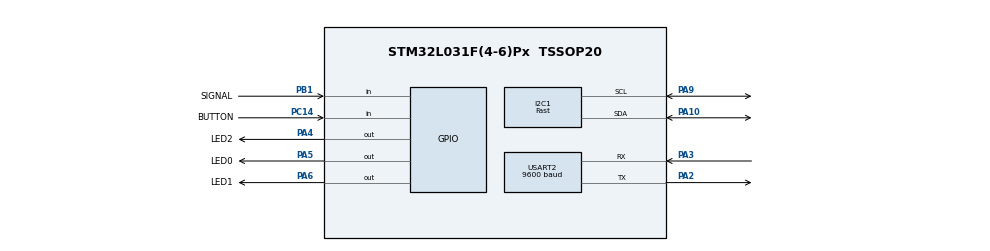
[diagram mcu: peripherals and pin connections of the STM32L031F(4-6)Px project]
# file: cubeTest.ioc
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I2C1.Analog_Filter=I2C_ANALOGFILTER_DISABLE
I2C1.I2C_Coeff_DF=7
I2C1.I2C_Fall_Time=100
I2C1.I2C_Rise_Time=100
I2C1.I2C_Speed_Mode=I2C_Fast
I2C1.Speed=50
I2C1.Timing=0x0000003F
Mcu.Family=STM32L0
Mcu.Name=STM32L031F(4-6)Px
Mcu.Package=TSSOP20
PA10.Mode=I2C
PA10.Signal=I2C1_SDA
PA13.Mode=Serial_Wire
PA13.Signal=SYS_SWDIO
PA14.Mode=Serial_Wire
PA14.Signal=SYS_SWCLK
PA2.Mode=Asynchronous
PA2.Signal=USART2_TX
PA3.Mode=Asynchronous
PA3.Signal=USART2_RX
PA4.GPIO_Label=LED2
PA4.Signal=GPIO_Output
PA5.GPIO_Label=LED0
PA5.Signal=GPIO_Output
PA6.GPIO_Label=LED1
PA6.Signal=GPIO_Output
PA9.Mode=I2C
PA9.Signal=I2C1_SCL
PB1.GPIO_Label=SIGNAL
PB1.Signal=GPIO_Input
PC14-OSC32_IN.GPIO_Label=BUTTON
PC14-OSC32_IN.GPIO_PuPd=GPIO_PULLUP
PC14-OSC32_IN.Signal=GPIO_Input
ProjectManager.HeapSize=0x200
ProjectManager.StackSize=0x400
ProjectManager.TargetToolchain=STM32CubeIDE
RCC.AHBFreq_Value=4194000
RCC.APB1Freq_Value=4194000
RCC.APB1TimFreq_Value=4194000
RCC.APB2Freq_Value=4194000
RCC.APB2TimFreq_Value=4194000
RCC.DATA_CACHE_ENABLE=1
RCC.HCLKFreq_Value=4194000
RCC.HSE_VALUE=8000000
RCC.HSI16_VALUE=16000000
RCC.HSI_VALUE=16000000
RCC.INSTRUCTION_CACHE_ENABLE=1
RCC.LSE_VALUE=32768
RCC.MSIClockRange=RCC_MSIRANGE_6
RCC.MSI_VALUE=4194000
RCC.PREFETCH_ENABLE=1
RCC.PWR_Regulator_Voltage_Scale=PWR_REGULATOR_VOLTAGE_SCALE1
RCC.SYSCLKFreq_VALUE=4194000
RCC.Usart2ClockSelection=RCC_USART2CLKSOURCE_SYSCLK
RCC.VCOOutputFreq_Value=48000000
USART2.BaudRate=9600
USART2.DMADisableonRxErrorParam=ADVFEATURE_DMA_DISABLEONRXERROR
USART2.OverrunDisableParam=ADVFEATURE_OVERRUN_DISABLE
USART2.VirtualMode-Asynchronous=VM_ASYNC
USART2.VirtualMode-Half_duplex(single_wire_mode)=VM_ASYNC
board=custom

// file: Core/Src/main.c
/* USER CODE BEGIN Header */
/**
  ******************************************************************************
  * @file           : main.c
  * @brief          : Main program body
  ******************************************************************************
  * @attention
  *
  * <h2><center>&copy; Copyright (c) 2020 STMicroelectronics.
  * All rights reserved.</center></h2>
  *
  * This software component is licensed by ST under BSD 3-Clause license,
  * the "License"; You may not use this file except in compliance with the
  * License. You may obtain a copy of the License at:
  *                        opensource.org/licenses/BSD-3-Clause
  *
  ******************************************************************************
  */
/* USER CODE END Header */
#include "main.h"

/* USER CODE BEGIN Includes */
#include "BQ769x0.h"
#include "comm.h"
/* USER CODE END Includes */

/* USER CODE BEGIN PD */
#define BUTTON_DEBOUNCE_LIMIT ((uint32_t)10)
/* USER CODE END PD */

/* USER CODE BEGIN PV */
static afe_config afeConfig;
static condensed_afe_data afeData;
/* USER CODE END PV */

void SystemClock_Config(void);
static void MX_GPIO_Init(void);
static void MX_I2C1_Init(void);
static void MX_USART2_UART_Init(void);

int main(void)
{
  /* USER CODE BEGIN 1 */
	uint32_t button_debounce;

  /* USER CODE END 1 */

  /* MCU Configuration--------------------------------------------------------*/

  /* Reset of all peripherals, Initializes the Flash interface and the Systick. */

  LL_APB2_GRP1_EnableClock(LL_APB2_GRP1_PERIPH_SYSCFG);
  LL_APB1_GRP1_EnableClock(LL_APB1_GRP1_PERIPH_PWR);

  /* System interrupt init*/

  /* Configure the system clock */
  SystemClock_Config();

  /* Initialize all configured peripherals */
  MX_GPIO_Init();
  MX_I2C1_Init();
  MX_USART2_UART_Init();
  /* USER CODE BEGIN 2 */

  afeConfig.enabled_cells=0b00010111;
  // current limit settings
  afeConfig.range = threshold_upper;
  afeConfig.sc_delay = scd_400_us;
  afeConfig.sc_voltage=scd_111_56_mv;
  afeConfig.oc_delay=ocd_8_ms;
  afeConfig.oc_voltage=ocd_44_22_mv;
  afeConfig.shuntValue=5; // 5 mOhms
  afeConfig.chargeCurrent_mA = 4000;

  // voltage limit settings
  afeConfig.uv_delay=uvd_4_s;
  afeConfig.uvLimit=0xFF;
  afeConfig.ov_delay=ovd_2_s;
  afeConfig.ovLimit=0xAA;

  // generic pack configuration
  afeConfig.pack_max_voltage = 16400;
  afeConfig.cell_bal_voltage = 4100;

  if(0==bqInit(I2C1, &afeData, &afeConfig)) {
	  // ERROR
	  LL_GPIO_SetOutputPin(LED0_GPIO_Port, LED0_Pin);
	  LL_GPIO_SetOutputPin(LED1_GPIO_Port, LED1_Pin);
	  LL_GPIO_SetOutputPin(LED2_GPIO_Port, LED2_Pin);
	  asm volatile ("bkpt 0");
  } else {
	  bqEnableAll();
  }

  commInit(USART2, &afeData, &afeConfig);
  /* USER CODE END 2 */

  /* Infinite loop */
  while (1) {

    /* USER CODE BEGIN 3 */
	  // handle AFE
	  if(LL_GPIO_IsInputPinSet(SIGNAL_GPIO_Port,SIGNAL_Pin)) {
		  LL_GPIO_SetOutputPin(LED0_GPIO_Port, LED0_Pin);

		  // AFE event signaled,
		  bqAct();
		  LL_GPIO_ResetOutputPin(LED1_GPIO_Port, LED1_Pin);
		  LL_GPIO_ResetOutputPin(LED2_GPIO_Port, LED2_Pin);
		  if(0b00001100&afeData.status_reg) { // voltage problem
			  LL_GPIO_SetOutputPin(LED1_GPIO_Port, LED1_Pin);
		  } else if(0b00000011&afeData.status_reg) { // discharge current problem
			  LL_GPIO_SetOutputPin(LED2_GPIO_Port, LED2_Pin);
		  } else if (0b11000000&afeData.status_reg) { // charge current problem
			  LL_GPIO_SetOutputPin(LED1_GPIO_Port, LED1_Pin);
			  LL_GPIO_SetOutputPin(LED2_GPIO_Port, LED2_Pin);
		  }

		  // handle the balancing system
		  bqBalance();

		  // handle the communication system
		  commAct();

		  // check the button and decide what needs to happen
		  if(LL_GPIO_IsInputPinSet(BUTTON_GPIO_Port, BUTTON_Pin)) {
			  button_debounce = 0;
		  } else {
			  if(button_debounce < BUTTON_DEBOUNCE_LIMIT) {
				  button_debounce ++;
			  } else if ( BUTTON_DEBOUNCE_LIMIT == button_debounce ) {
				  button_debounce ++;
				  // act on the button
				  if(0b11001111&afeData.status_reg) {
					  // reset error status if there's a problem
					  bqDisableAll();
					  bqResetStatus();
					  bqEnableAll();
				  } else {
					  // start the balance algo
					  afeData.balStatus=1;
				  }
			  } else {
				  button_debounce = button_debounce ;
			  }
		  }

		  LL_GPIO_ResetOutputPin(LED0_GPIO_Port, LED0_Pin);
	  }
  }
  /* USER CODE END 3 */
}

void SystemClock_Config(void)
{
  LL_FLASH_SetLatency(LL_FLASH_LATENCY_0);
  while(LL_FLASH_GetLatency()!= LL_FLASH_LATENCY_0)
  {
  }
  LL_PWR_SetRegulVoltageScaling(LL_PWR_REGU_VOLTAGE_SCALE1);
  LL_RCC_MSI_Enable();

   /* Wait till MSI is ready */
  while(LL_RCC_MSI_IsReady() != 1)
  {

  }
  LL_RCC_MSI_SetRange(LL_RCC_MSIRANGE_6);
  LL_RCC_MSI_SetCalibTrimming(0);
  LL_RCC_SetAHBPrescaler(LL_RCC_SYSCLK_DIV_1);
  LL_RCC_SetAPB1Prescaler(LL_RCC_APB1_DIV_1);
  LL_RCC_SetAPB2Prescaler(LL_RCC_APB2_DIV_1);
  LL_RCC_SetSysClkSource(LL_RCC_SYS_CLKSOURCE_MSI);

   /* Wait till System clock is ready */
  while(LL_RCC_GetSysClkSource() != LL_RCC_SYS_CLKSOURCE_STATUS_MSI)
  {

  }

  LL_Init1msTick(4194000);

  LL_SetSystemCoreClock(4194000);
  LL_RCC_SetUSARTClockSource(LL_RCC_USART2_CLKSOURCE_SYSCLK);
  LL_RCC_SetI2CClockSource(LL_RCC_I2C1_CLKSOURCE_PCLK1);
}

static void MX_I2C1_Init(void)
{

  LL_I2C_InitTypeDef I2C_InitStruct = {0};

  LL_GPIO_InitTypeDef GPIO_InitStruct = {0};

  LL_IOP_GRP1_EnableClock(LL_IOP_GRP1_PERIPH_GPIOA);
  /**I2C1 GPIO Configuration
  PA9   ------> I2C1_SCL
  PA10   ------> I2C1_SDA
  */
  GPIO_InitStruct.Pin = LL_GPIO_PIN_9;
  GPIO_InitStruct.Mode = LL_GPIO_MODE_ALTERNATE;
  GPIO_InitStruct.Speed = LL_GPIO_SPEED_FREQ_VERY_HIGH;
  GPIO_InitStruct.OutputType = LL_GPIO_OUTPUT_OPENDRAIN;
  GPIO_InitStruct.Pull = LL_GPIO_PULL_UP;
  GPIO_InitStruct.Alternate = LL_GPIO_AF_1;
  LL_GPIO_Init(GPIOA, &GPIO_InitStruct);

  GPIO_InitStruct.Pin = LL_GPIO_PIN_10;
  GPIO_InitStruct.Mode = LL_GPIO_MODE_ALTERNATE;
  GPIO_InitStruct.Speed = LL_GPIO_SPEED_FREQ_VERY_HIGH;
  GPIO_InitStruct.OutputType = LL_GPIO_OUTPUT_OPENDRAIN;
  GPIO_InitStruct.Pull = LL_GPIO_PULL_UP;
  GPIO_InitStruct.Alternate = LL_GPIO_AF_1;
  LL_GPIO_Init(GPIOA, &GPIO_InitStruct);

  /* Peripheral clock enable */
  LL_APB1_GRP1_EnableClock(LL_APB1_GRP1_PERIPH_I2C1);

  /** I2C Initialization
  */
  LL_I2C_EnableAutoEndMode(I2C1);
  LL_I2C_DisableOwnAddress2(I2C1);
  LL_I2C_DisableGeneralCall(I2C1);
  LL_I2C_EnableClockStretching(I2C1);
  I2C_InitStruct.PeripheralMode = LL_I2C_MODE_I2C;
  I2C_InitStruct.Timing = 0x0000003F;
  I2C_InitStruct.AnalogFilter = LL_I2C_ANALOGFILTER_DISABLE;
  I2C_InitStruct.DigitalFilter = 7;
  I2C_InitStruct.OwnAddress1 = 0;
  I2C_InitStruct.TypeAcknowledge = LL_I2C_ACK;
  I2C_InitStruct.OwnAddrSize = LL_I2C_OWNADDRESS1_7BIT;
  LL_I2C_Init(I2C1, &I2C_InitStruct);
  LL_I2C_SetOwnAddress2(I2C1, 0, LL_I2C_OWNADDRESS2_NOMASK);

}

static void MX_USART2_UART_Init(void)
{

  LL_USART_InitTypeDef USART_InitStruct = {0};

  LL_GPIO_InitTypeDef GPIO_InitStruct = {0};

  /* Peripheral clock enable */
  LL_APB1_GRP1_EnableClock(LL_APB1_GRP1_PERIPH_USART2);

  LL_IOP_GRP1_EnableClock(LL_IOP_GRP1_PERIPH_GPIOA);
  /**USART2 GPIO Configuration
  PA2   ------> USART2_TX
  PA3   ------> USART2_RX
  */
  GPIO_InitStruct.Pin = LL_GPIO_PIN_2;
  GPIO_InitStruct.Mode = LL_GPIO_MODE_ALTERNATE;
  GPIO_InitStruct.Speed = LL_GPIO_SPEED_FREQ_VERY_HIGH;
  GPIO_InitStruct.OutputType = LL_GPIO_OUTPUT_PUSHPULL;
  GPIO_InitStruct.Pull = LL_GPIO_PULL_NO;
  GPIO_InitStruct.Alternate = LL_GPIO_AF_4;
  LL_GPIO_Init(GPIOA, &GPIO_InitStruct);

  GPIO_InitStruct.Pin = LL_GPIO_PIN_3;
  GPIO_InitStruct.Mode = LL_GPIO_MODE_ALTERNATE;
  GPIO_InitStruct.Speed = LL_GPIO_SPEED_FREQ_VERY_HIGH;
  GPIO_InitStruct.OutputType = LL_GPIO_OUTPUT_PUSHPULL;
  GPIO_InitStruct.Pull = LL_GPIO_PULL_NO;
  GPIO_InitStruct.Alternate = LL_GPIO_AF_4;
  LL_GPIO_Init(GPIOA, &GPIO_InitStruct);

  USART_InitStruct.BaudRate = 9600;
  USART_InitStruct.DataWidth = LL_USART_DATAWIDTH_8B;
  USART_InitStruct.StopBits = LL_USART_STOPBITS_1;
  USART_InitStruct.Parity = LL_USART_PARITY_NONE;
  USART_InitStruct.TransferDirection = LL_USART_DIRECTION_TX_RX;
  USART_InitStruct.HardwareFlowControl = LL_USART_HWCONTROL_NONE;
  USART_InitStruct.OverSampling = LL_USART_OVERSAMPLING_16;
  LL_USART_Init(USART2, &USART_InitStruct);
  LL_USART_DisableOverrunDetect(USART2);
  LL_USART_DisableDMADeactOnRxErr(USART2);
  LL_USART_ConfigAsyncMode(USART2);
  LL_USART_Enable(USART2);

}

static void MX_GPIO_Init(void)
{
  LL_GPIO_InitTypeDef GPIO_InitStruct = {0};

  /* GPIO Ports Clock Enable */
  LL_IOP_GRP1_EnableClock(LL_IOP_GRP1_PERIPH_GPIOC);
  LL_IOP_GRP1_EnableClock(LL_IOP_GRP1_PERIPH_GPIOA);
  LL_IOP_GRP1_EnableClock(LL_IOP_GRP1_PERIPH_GPIOB);

  /**/
  LL_GPIO_ResetOutputPin(LED2_GPIO_Port, LED2_Pin);

  /**/
  LL_GPIO_ResetOutputPin(LED0_GPIO_Port, LED0_Pin);

  /**/
  LL_GPIO_ResetOutputPin(LED1_GPIO_Port, LED1_Pin);

  /**/
  GPIO_InitStruct.Pin = BUTTON_Pin;
  GPIO_InitStruct.Mode = LL_GPIO_MODE_INPUT;
  GPIO_InitStruct.Pull = LL_GPIO_PULL_UP;
  LL_GPIO_Init(BUTTON_GPIO_Port, &GPIO_InitStruct);

  /**/
  GPIO_InitStruct.Pin = LL_GPIO_PIN_15;
  GPIO_InitStruct.Mode = LL_GPIO_MODE_ANALOG;
  GPIO_InitStruct.Pull = LL_GPIO_PULL_NO;
  LL_GPIO_Init(GPIOC, &GPIO_InitStruct);

  /**/
  GPIO_InitStruct.Pin = LL_GPIO_PIN_0;
  GPIO_InitStruct.Mode = LL_GPIO_MODE_ANALOG;
  GPIO_InitStruct.Pull = LL_GPIO_PULL_NO;
  LL_GPIO_Init(GPIOA, &GPIO_InitStruct);

  /**/
  GPIO_InitStruct.Pin = LL_GPIO_PIN_1;
  GPIO_InitStruct.Mode = LL_GPIO_MODE_ANALOG;
  GPIO_InitStruct.Pull = LL_GPIO_PULL_NO;
  LL_GPIO_Init(GPIOA, &GPIO_InitStruct);

  /**/
  GPIO_InitStruct.Pin = LED2_Pin;
  GPIO_InitStruct.Mode = LL_GPIO_MODE_OUTPUT;
  GPIO_InitStruct.Speed = LL_GPIO_SPEED_FREQ_LOW;
  GPIO_InitStruct.OutputType = LL_GPIO_OUTPUT_PUSHPULL;
  GPIO_InitStruct.Pull = LL_GPIO_PULL_NO;
  LL_GPIO_Init(LED2_GPIO_Port, &GPIO_InitStruct);

  /**/
  GPIO_InitStruct.Pin = LED0_Pin;
  GPIO_InitStruct.Mode = LL_GPIO_MODE_OUTPUT;
  GPIO_InitStruct.Speed = LL_GPIO_SPEED_FREQ_LOW;
  GPIO_InitStruct.OutputType = LL_GPIO_OUTPUT_PUSHPULL;
  GPIO_InitStruct.Pull = LL_GPIO_PULL_NO;
  LL_GPIO_Init(LED0_GPIO_Port, &GPIO_InitStruct);

  /**/
  GPIO_InitStruct.Pin = LED1_Pin;
  GPIO_InitStruct.Mode = LL_GPIO_MODE_OUTPUT;
  GPIO_InitStruct.Speed = LL_GPIO_SPEED_FREQ_LOW;
  GPIO_InitStruct.OutputType = LL_GPIO_OUTPUT_PUSHPULL;
  GPIO_InitStruct.Pull = LL_GPIO_PULL_NO;
  LL_GPIO_Init(LED1_GPIO_Port, &GPIO_InitStruct);

  /**/
  GPIO_InitStruct.Pin = LL_GPIO_PIN_7;
  GPIO_InitStruct.Mode = LL_GPIO_MODE_ANALOG;
  GPIO_InitStruct.Pull = LL_GPIO_PULL_NO;
  LL_GPIO_Init(GPIOA, &GPIO_InitStruct);

  /**/
  GPIO_InitStruct.Pin = SIGNAL_Pin;
  GPIO_InitStruct.Mode = LL_GPIO_MODE_INPUT;
  GPIO_InitStruct.Pull = LL_GPIO_PULL_NO;
  LL_GPIO_Init(SIGNAL_GPIO_Port, &GPIO_InitStruct);

}

void Error_Handler(void)
{
  /* USER CODE BEGIN Error_Handler_Debug */
  /* User can add his own implementation to report the HAL error return state */
	asm volatile("bkpt 1");
  /* USER CODE END Error_Handler_Debug */
}

/************************ (C) COPYRIGHT STMicroelectronics *****END OF FILE****/
